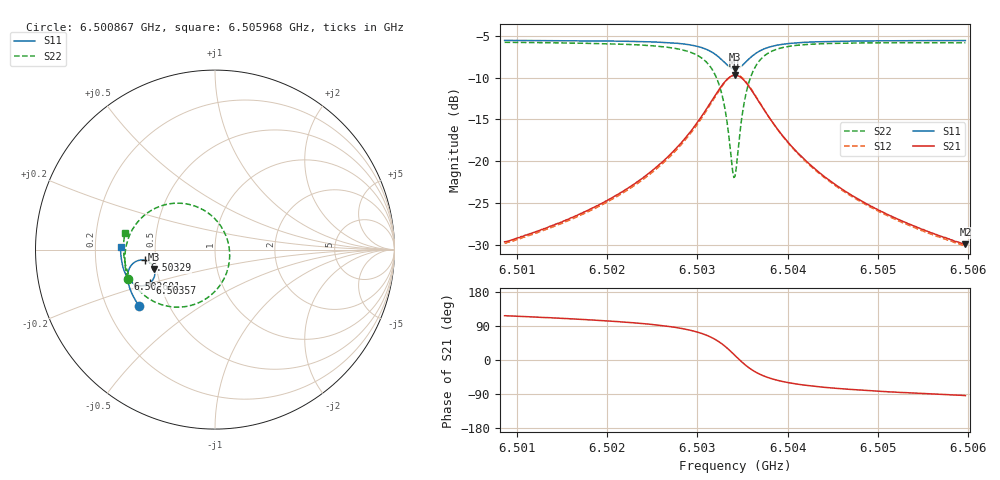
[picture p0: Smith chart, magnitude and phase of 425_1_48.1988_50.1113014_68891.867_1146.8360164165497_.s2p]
#  HZ  S  RI  R  50.00
! Rohde & Schwarz Vector Network Analyzer
! Rohde-Schwarz,ZNB20-2Port,1311601062101988,3.16
! Created: UTC 3/20/2024, 11:55:05 AM
! freq[Hz]  re:S11  im:S11  re:S21  im:S21  re:S12  im:S12  re:S22  im:S22
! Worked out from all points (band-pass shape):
!   401 points, 6.500867 GHz to 6.505968 GHz, reference 50 ohm
!   highest |S21| = -9.72 dB at 6.503417 GHz (marker M1); lowest = -29.9 dB at 6.505968 GHz (marker M2)
!   |S21| within 3 dB of the highest: 6.503163 GHz to 6.503673 GHz (510 kHz wide, 0.00784 % of centre)
!   lowest |S11| = -9.0 dB at 6.503417 GHz (marker M3), VSWR 2.10, Z = 24.3 - j5.99 ohm
!   |S11| at or under -10 dB: nowhere
!   |S22| runs from -21.9 to -5.8 dB; largest |S21 - S12| = 0.011
!   S11 on the Smith chart (normalised r, x): 6.500867 GHz: 0.34, -0.30; 6.502601 GHz: 0.33, -0.15; 6.50329 GHz: 0.44, -0.06; 6.50357 GHz: 0.44, -0.20; 6.505968 GHz: 0.31, +0.01
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6.5008667e9  -0.4225 -0.3142  -0.0149 0.0296  -0.0134 0.0296  -0.487 -0.1623
6.5017212e9  -0.4599 -0.2516  -0.0145 0.0469  -0.012 0.0466  -0.5017 -0.0728
6.5021931e9  -0.4767 -0.2103  -0.0116 0.0662  -0.00863 0.0652  -0.4995 -0.00687
6.5025757e9  -0.4862 -0.1685  -0.00294 0.0953  0.000739 0.0928  -0.4808 0.0681
6.5026012e9  -0.4864 -0.1653  -0.0019 0.0978  0.00183 0.0956  -0.4785 0.0742
6.5028945e9  -0.4831 -0.1206  0.0249 0.1415  0.0287 0.1371  -0.423 0.163
6.5030858e9  -0.4622 -0.0826  0.0783 0.1834  0.0808 0.1772  -0.3211 0.2355
6.5032006e9  -0.4302 -0.0617  0.1466 0.2011  0.1474 0.1949  -0.1981 0.2586
6.5032899e9  -0.3903 -0.0597  0.2253 0.1856  0.2257 0.1805  -0.0623 0.2196
6.5033281e9  -0.3709 -0.0672  0.2616 0.1628  0.2624 0.1583  -0.0023 0.1734
6.5033919e9  -0.3442 -0.0935  0.3092 0.0997  0.3119 0.0947  0.0699 0.0518
6.5034174e9  -0.3379 -0.1079  0.3196 0.0677  0.3228 0.0619  0.081 -0.00756
6.5034429e9  -0.3347 -0.1234  0.3235 0.0343  0.3269 0.0273  0.0794 -0.0688
6.5035067e9  -0.3418 -0.1604  0.3056 -0.0434  0.3079 -0.0532  0.0247 -0.2032
6.5035705e9  -0.3629 -0.1863  0.2631 -0.0974  0.2621 -0.1085  -0.0708 -0.2861
6.5036725e9  -0.4021 -0.2016  0.189 -0.1335  0.1838 -0.143  -0.2201 -0.3205
6.5038383e9  -0.4481 -0.192  0.1079 -0.1307  0.1009 -0.1357  -0.3665 -0.2745
6.5040168e9  -0.4754 -0.1706  0.0636 -0.1109  0.0574 -0.1131  -0.4382 -0.2101
6.5042719e9  -0.4961 -0.1405  0.0336 -0.0869  0.0291 -0.0874  -0.4813 -0.1383
6.5046418e9  -0.5113 -0.1021  0.0152 -0.0644  0.012 -0.0641  -0.5035 -0.0659
6.5051264e9  -0.5211 -0.0574  0.00507 -0.0474  0.00277 -0.0467  -0.5098 0.00204
6.5059681e9  -0.5258 0.0135  -0.00224 -0.0319  -0.00336 -0.031  -0.5017 0.0901
